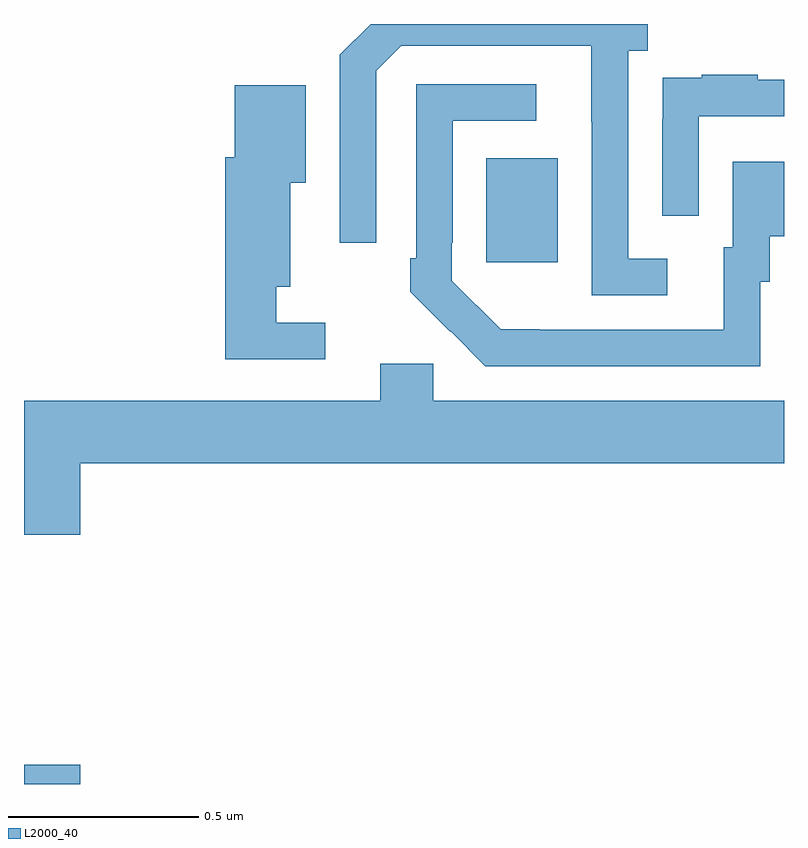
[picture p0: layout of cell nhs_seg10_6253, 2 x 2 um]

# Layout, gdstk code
import gdstk
lib = gdstk.Library(unit=1e-6, precision=1e-09)
def R(c, l, rs):  # rectangles x0, y0, x1, y1
    for r in rs: c.add(gdstk.rectangle(r[:2], r[2:], *l))
def P(c, l, *ps):  # polygons
    for p in ps: c.add(gdstk.Polygon(p, *l))
L2000_40 = (2000, 40)

nhs_seg10_6253 = lib.new_cell('nhs_seg10_6253')
R(nhs_seg10_6253, L2000_40, [(189,1271.5,189.148,1271.551), (190.217,1272.873,190.405,1273.147)])
P(nhs_seg10_6253, L2000_40, [(190.693,1272.882),(190.59,1272.882),(190.59,1273.43),(190.642,1273.43),(190.642,1273.5),(189.912,1273.5),(189.831,1273.419),(189.831,1272.924),(189.927,1272.924),(189.927,1273.377),(189.993,1273.443),(190.493,1273.443),(190.493,1273.243),(190.494,1273.243),(190.494,1272.786),(190.693,1272.786)],
  [(190.776,1273.257),(191,1273.257),(191,1273.353),(190.931,1273.353),(190.931,1273.366),(190.783,1273.366),(190.783,1273.359),(190.681,1273.359),(190.681,1273.25),(190.68,1273.25),(190.68,1272.996),(190.776,1272.996)],
  [(190.938,1272.822),(190.963,1272.822),(190.963,1272.941),(191,1272.941),(191,1273.138),(190.865,1273.138),(190.865,1272.912),(190.841,1272.912),(190.841,1272.696),(190.357,1272.696),(190.357,1272.697),(190.254,1272.697),(190.125,1272.825),(190.125,1272.925),(190.128,1272.925),(190.128,1273.245),(190.348,1273.245),(190.348,1273.341),(190.032,1273.341),(190.032,1272.883),(190.017,1272.883),(190.017,1272.795),(190.122,1272.69),(190.123,1272.691),(190.214,1272.6),(190.938,1272.6)],
  [(189.793,1272.714),(189.664,1272.714),(189.664,1272.809),(189.7,1272.809),(189.7,1273.082),(189.742,1273.082),(189.742,1273.339),(189.554,1273.339),(189.554,1273.149),(189.53,1273.149),(189.53,1272.618),(189.793,1272.618)],
  [(189.148,1272.344),(191,1272.344),(191,1272.508),(190.077,1272.508),(190.077,1272.606),(189.938,1272.606),(189.938,1272.508),(189,1272.508),(189,1272.156),(189.148,1272.156)])

lib.write_gds('nhs_seg10_6253.gds')
